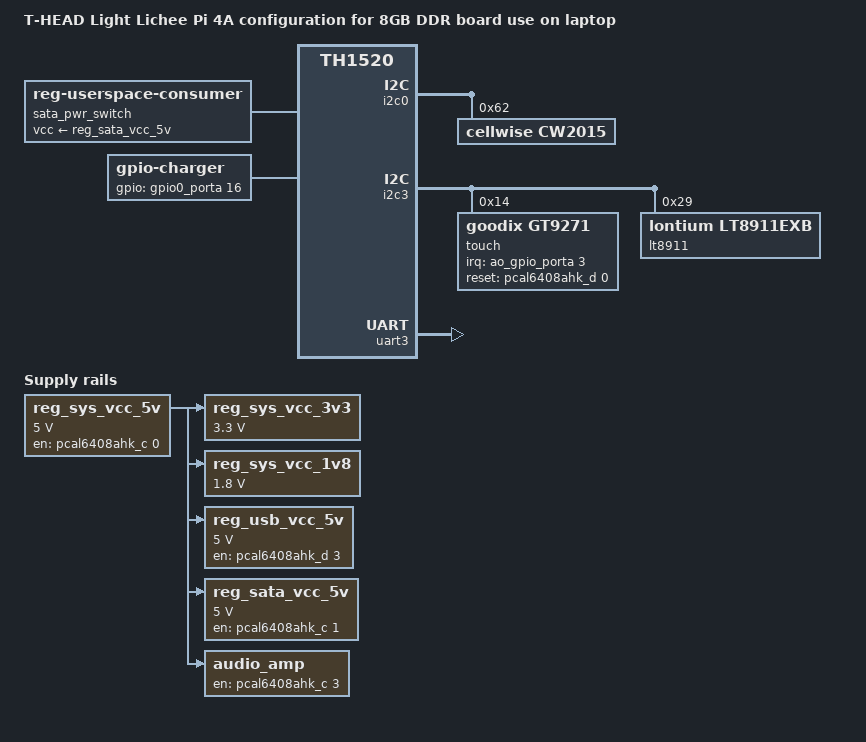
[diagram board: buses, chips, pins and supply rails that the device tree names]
/* SPDX-License-Identifier: GPL-2.0 */
/*
 * Copyright (C) 2023 Sipeed.
 */

#include "th1520-lpi4a-dsi0-hdmi.dts"

/ {
	model = "T-HEAD Light Lichee Pi 4A configuration for 8GB DDR board use on laptop";
	compatible = "thead,light", "sipeed,th1520-laptop";

	reg_sys_vcc_5v: regulator-sys-vcc-5v-en {
		status = "okay";
		compatible = "regulator-fixed";
		regulator-name = "regulator-sys-vcc-5v-en";
		regulator-min-microvolt = <5000000>;
		regulator-max-microvolt = <5000000>;
		gpio = <&pcal6408ahk_c 0 1>;
		enable-active-high;
		regulator-boot-on;
		regulator-always-on;

		// suspend for lichee laptop is not ready so dont turn it off
		/*
		regulator-state-mem {
			regulator-off-in-suspend;
		};
		regulator-state-standby {
			regulator-off-in-suspend;
		};
		*/
	};

	reg_sys_vcc_3v3: regulator-sys-vcc-3v3-en {
		status = "okay";
		compatible = "regulator-fixed";
		regulator-name = "regulator-sys-vcc-3v3-en";
		vin-supply = <&reg_sys_vcc_5v>;
		regulator-min-microvolt = <3300000>;
		regulator-max-microvolt = <3300000>;
		enable-active-high;
		regulator-boot-on;
		regulator-always-on;
	};

	reg_sys_vcc_1v8: regulator-sys-vcc-1v8-en {
		status = "okay";
		compatible = "regulator-fixed";
		regulator-name = "regulator-sys-vcc-1v8-en";
		vin-supply = <&reg_sys_vcc_5v>;
		regulator-min-microvolt = <1800000>;
		regulator-max-microvolt = <1800000>;
		enable-active-high;
		regulator-boot-on;
		regulator-always-on;
	};

	reg_usb_vcc_5v: regulator-usb-vcc-5v-en {
		status = "okay";
		compatible = "regulator-fixed";
		regulator-name = "regulator-usb-vcc-5v-en";
		regulator-min-microvolt = <5000000>;
		regulator-max-microvolt = <5000000>;
		vin-supply = <&reg_sys_vcc_5v>;
		gpio = <&pcal6408ahk_d 3 1>;
		enable-active-high;
		regulator-always-on;
        };

	reg_sata_vcc_5v: regulator-sata-vcc-5v-en {
		status = "okay";
		compatible = "regulator-fixed";
		regulator-name = "regulator-sata-vcc-5v-en";
		regulator-min-microvolt = <5000000>;
		regulator-max-microvolt = <5000000>;
		vin-supply = <&reg_sys_vcc_5v>;
		gpio = <&pcal6408ahk_c 1 1>;
		enable-active-high;
		regulator-boot-on;
		regulator-always-on;
	};

	sata_pwr_switch: sata-pwr-switch {
		status = "okay";
		compatible = "reg-userspace-consumer";
		regulator-name = "sata-pwr-consumer";
		vcc-supply = <&reg_sata_vcc_5v>;
	};

	audio_amp: regulator-audio-amp-en {
                status = "okay";
                compatible = "regulator-fixed";
                regulator-name = "regulator-audio-amp-en";
                vin-supply = <&reg_sys_vcc_5v>;
		gpio = <&pcal6408ahk_c 3 1>;
		enable-active-high;
		regulator-always-on;
	};

	aon: aon {
		soc_dvdd12_rgb {
			/delete-property/ gpio;
		};
		soc_avdd25_ir {
			/delete-property/ gpio;
		};
		soc_dovdd18_ir {
			/delete-property/ gpio;
		};
		soc_dvdd12_ir {
			/delete-property/ gpio;
		};
		soc_cam2_avdd25_ir {
			/delete-property/ gpio;
		};
		soc_cam2_dovdd18_ir {
			/delete-property/ gpio;
		};
		soc_avdd28_rgb {
			/delete-property/ gpio;
		};
		soc_dovdd18_rgb {
			/delete-property/ gpio;
		};
	};

	charger: dc-charger {
		compatible = "gpio-charger";
		charger-type = "mains";
		gpios = <&gpio0_porta 16 GPIO_ACTIVE_HIGH>;
	};
};

&es8156_audio_codec {
	AVDD-supply = <&reg_sys_vcc_3v3>;
	DVDD-supply = <&reg_sys_vcc_1v8>;
	PVDD-supply = <&reg_sys_vcc_1v8>;
};

&es7210_audio_codec {
	MVDD-supply = <&reg_sys_vcc_3v3>;
	AVDD-supply = <&reg_sys_vcc_3v3>;
	DVDD-supply = <&reg_sys_vcc_1v8>;
	PVDD-supply = <&reg_sys_vcc_1v8>;
};

&wcn_wifi {
	WIFI,poweren_gpio = <&pcal6408ahk_c 4 0>;
};


&wcn_bt {
	BT,power_gpio = <&pcal6408ahk_c 5 0>;
};

&usb_1 {
        /delete-property/ vbus-supply;
        /delete-property/ hub1v2-supply;
        hub5v-supply = <&reg_usb_vcc_5v>;
};

&reg_usb_hub_vcc5v {
	/delete-property/ gpio;
};

&soc_cam2_dvdd12_ir_reg {
	/delete-property/ gpio;
};

&vvcam_sensor0 {
	/delete-property/ sensor_rst;
};

&vvcam_sensor1 {
	/delete-property/ sensor_rst;
};

&vvcam_sensor2 {
	/delete-property/ sensor_rst;
};

&vvcam_sensor3 {
	/delete-property/ sensor_rst;
};

&reg_tp_pwr_en {
	/delete-property/ gpio;
};

&i2c0 {
	/delete-node/ gpio@18;

	cw2015: cw2015@62 {
		compatible = "cellwise,cw2015";
		reg = <0x62>;
		cellwise,monitor-interval-ms = <5000>;
		power-supplies = <&charger>;
	};
};

&i2c3 {
	touch@14 {
		#gpio-cells = <2>;
		compatible = "goodix,gt9271";
		reg = <0x14>;
		interrupt-parent = <&ao_gpio_porta>;
		interrupts = <3 0>;
		irq-gpios = <&ao_gpio_porta 3 0>;
		reset-gpios = <&pcal6408ahk_d 0 0>;
		// read xmax & ymax from touch screen chip, thank ice
		//touchscreen-size-x = <1024>;
		//touchscreen-size-y = <600>;
		//tp-size = <9271>;
		/delete-property/ touchscreen-size-x;
		/delete-property/ touchscreen-size-y;
		/delete-property/ tp-size;
		status = "okay";
	};

	lt8911: lt8911@29 {
		compatible = "lontium,lt8911exb";
		reg = <0x29>;
		lontium,pclk = <136000000>;
		lontium,hact = <2160>;
		lontium,vact = <1440>;
		lontium,hbp = <80>;
		lontium,hfp = <48>;
		lontium,vbp = <14>;
		lontium,vfp = <3>;
		lontium,hs = <32>;
		lontium,vs = <10>;
		lontium,mipi_lane = <2>;
		lontium,lane_cnt = <2>;
		lontium,color = <1>; //Color Depth 0:6bit 1:8bit
		lontium,test = <0>;
	};
};

&uart3 {
	clock-frequency = <100000000>;
	pinctrl-0 = <&pinctrl_uart3_tx_is_gpio>;
	status = "okay";
};

&spi0 {
	status = "disabled";
};

&qspi0 {
	status = "disabled";
};

&qspi1 {
	status = "disabled";
};

&dsi0_panel0 {
	backlight = <&lcd0_backlight>;
	reset-gpio = <&pcal6408ahk_d 7 0>; /* active low */
	hsvcc-supply = <&reg_sys_vcc_1v8>;
	vspn3v3-supply = <&reg_sys_vcc_3v3>;
};

&lcd0_backlight {
	pwms = <&pwm 0 50000>;
	brightness-levels = <0 1 2 3 4 5 6 7 8 9 10 11 12 13 14 15 16 17 18 19 20 21 22 23 24 25 26 27 28 29 30 31 32 33 34 35
        36 37 38 39 40 41 42 43 44 45 46 47 48 49 50 51 52 53 54 55 56 57 58 59 60 61 62 63 64 65 66 67 68 69 70 71 72 73 74 75
        76 77 78 79 80 81 82 83 84 85 86 87 88 89 90 91 92 93 94 95 96 97 98 99 100>;
	default-brightness-level = <100>;
};

&fan {
	pwms = <&pwm 1 10000000 0>;
	cooling-levels = <0 64 192 255>;
};

&cpus {
        c910_0: cpu@0 {
                operating-points = <
                        /* kHz    uV */
                        300000  500000
                        800000  700000
                        1500000 800000
                >;
                light,dvddm-operating-points = <
                        /* kHz   uV */
                        300000  800000
                        800000  800000
                        1500000 800000
                >;
        };
        c910_1: cpu@1 {
                operating-points = <
                        /* kHz    uV */
                        300000  500000
                        800000  700000
                        1500000 800000
                >;
                light,dvddm-operating-points = <
                        /* kHz   uV */
                        300000  800000
                        800000  800000
                        1500000 800000
                >;
        };
        c910_2: cpu@2 {

                operating-points = <
                        /* kHz    uV */
                        300000  500000
                        800000  700000
                        1500000 800000
                >;
                light,dvddm-operating-points = <
                        /* kHz   uV */
                        300000  800000
                        800000  800000
                        1500000 800000
                >;
        };
        c910_3: cpu@3 {

                operating-points = <
                        /* kHz    uV */
                        300000  500000
                        800000  700000
                        1500000 800000
                >;
                light,dvddm-operating-points = <
                        /* kHz   uV */
                        300000  800000
                        800000  800000
                        1500000 800000
                >;
        };
};
